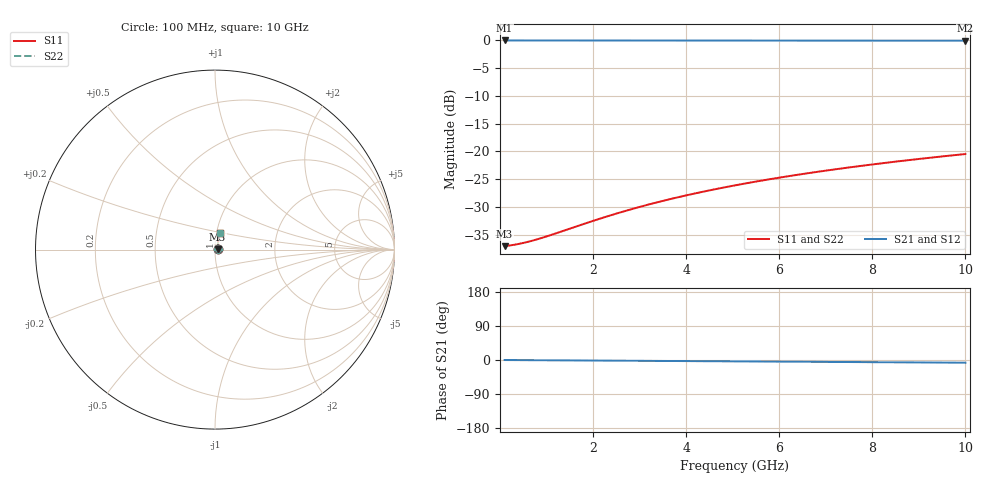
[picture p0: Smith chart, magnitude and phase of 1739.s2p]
# Hz S RI R 50.00
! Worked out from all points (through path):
!   100 points, 100 MHz to 10 GHz, reference 50 ohm
!   highest |S21| = -0.12 dB at 100 MHz (marker M1); lowest = -0.2 dB at 10 GHz (marker M2)
!   lowest |S11| = -37.0 dB at 100 MHz (marker M3), VSWR 1.03, Z = 51.4 + j0.0947 ohm
!   |S11| at or under -10 dB: start of sweep to end of sweep
!   |S22| runs from -37.0 to -20.5 dB; largest |S21 - S12| = 0
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1e8  0.0141 0.00092  0.9859 -0.00123  0.9859 -0.00123  0.0141 0.00092
3e8  0.0143 0.00276  0.9857 -0.00369  0.9857 -0.00369  0.0143 0.00276
4e8  0.0144 0.00368  0.9856 -0.00492  0.9856 -0.00492  0.0144 0.00368
5e8  0.0144 0.0046  0.9856 -0.00615  0.9856 -0.00615  0.0144 0.0046
7e8  0.0145 0.00644  0.9855 -0.00861  0.9855 -0.00861  0.0145 0.00644
9e8  0.0146 0.00828  0.9854 -0.0111  0.9854 -0.0111  0.0146 0.00828
1.1e9  0.0147 0.0101  0.9853 -0.0135  0.9853 -0.0135  0.0147 0.0101
1.8e9  0.0151 0.0165  0.9849 -0.0221  0.9849 -0.0221  0.0151 0.0165
2.2e9  0.0153 0.0202  0.9846 -0.027  0.9846 -0.027  0.0153 0.0202
2.6e9  0.0156 0.0239  0.9843 -0.0319  0.9843 -0.0319  0.0156 0.0239
3e9  0.0159 0.0275  0.984 -0.0368  0.984 -0.0368  0.0159 0.0275
3.4e9  0.0163 0.0312  0.9837 -0.0417  0.9837 -0.0417  0.0163 0.0312
3.8e9  0.0166 0.0349  0.9833 -0.0466  0.9833 -0.0466  0.0166 0.0349
4.2e9  0.017 0.0385  0.9829 -0.0515  0.9829 -0.0515  0.017 0.0385
4.6e9  0.0175 0.0422  0.9824 -0.0564  0.9824 -0.0564  0.0175 0.0422
5.1e9  0.0181 0.0467  0.9818 -0.0625  0.9818 -0.0625  0.0181 0.0467
5.9e9  0.0192 0.054  0.9807 -0.0723  0.9807 -0.0723  0.0192 0.054
6.7e9  0.0204 0.0612  0.9794 -0.0821  0.9794 -0.0821  0.0204 0.0612
7.5e9  0.0217 0.0685  0.978 -0.0918  0.978 -0.0918  0.0217 0.0685
8.4e9  0.0234 0.0766  0.9762 -0.1027  0.9762 -0.1027  0.0234 0.0766
9.2e9  0.0251 0.0837  0.9745 -0.1123  0.9745 -0.1123  0.0251 0.0837
1e10  0.0269 0.0909  0.9726 -0.122  0.9726 -0.122  0.0269 0.0909
